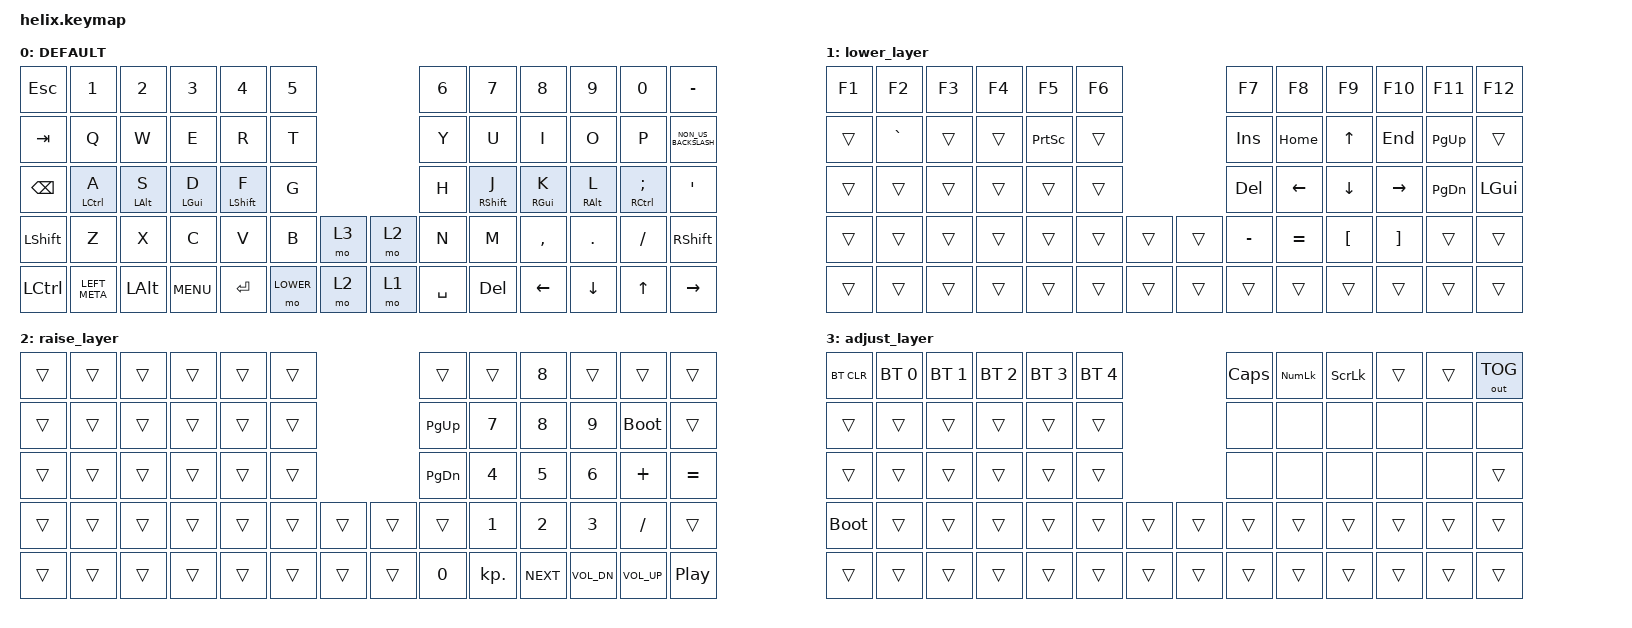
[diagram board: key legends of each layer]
/*
 * Copyright (c) 2020 The ZMK Contributors
 *
 * SPDX-License-Identifier: MIT
 */

#include <behaviors.dtsi>
#include <dt-bindings/zmk/bt.h>
#include <dt-bindings/zmk/keys.h>
#include <dt-bindings/zmk/outputs.h>

#define DEFAULT 0
#define LOWER  1
#define RAISE  2
#define ADJUST 3

/* NOTE: At the time of the creation of this keymap, there are no specified codes for 'eisuu' and 'kana' input in ZMK.
However, 'LANG1' and 'LANG2' are fully-functioning candidates for 'kana' and 'eisuu' input respectively.
As such, those are in use within the default layer at this time.*/

 &pro_micro_i2c {
     status = "okay";
 
     oled: ssd1306@3c {
         compatible = "solomon,ssd1306fb";
         reg = <0x3c>;
         width = <128>;
         height = <32>;
         segment-offset = <0>;
         page-offset = <0>;
         display-offset = <0>;
         multiplex-ratio = <31>;
         segment-remap;
         com-invdir;
         com-sequential;
         inversion-on;
         prechargep = <0x22>;
     };
 };


/ {

    behaviors {
        tpmt: tpmt {
            compatible = "zmk,behavior-hold-tap";
            label = "TPMT";
            bindings = <&kp>, <&kp>;

            #binding-cells = <2>;
            tapping-term-ms = <200>;
            quick-tap-ms = <125>;
            require-prior-idle-ms = <125>;
            flavor = "tap-preferred";
        };
    };

    keymap {
        compatible = "zmk,keymap";

        default_layer {
            // ---------------------------------------------------------------------------------------------------------------------------------
            // | GRAVE  |   1    |   2    |   3    |   4    |   5    |                                      |   6    |   7    |   8    |   9    |   0    |  DEL   |
            // |  TAB   |   Q    |   W    |   E    |   R    |   T    |                                      |   Y    |   U    |   I    |   O    |   P    |  BSPC  |
            // |  CTRL  |   A    |   S    |   D    |   F    |   G    |                                      |   H    |   J    |   K    |   L    |   ;    |   '    |
            // |  SHIFT |   Z    |   X    |   C    |   V    |   B    |  LBKT  |                    |  RBKT  |   N    |   M    |   ,    |   .    |   /    |  RET   |
            // | ADJUST |  ESC   |  ALT   |  LGUI  | EISUU  | LOWER  | SPACE  |                    |  SPACE | RAISE  |  KANA  |  LEFT  |  DOWN  |  UP    |  RIGHT |

            bindings = <
&kp ESC        &kp N1         &kp N2            &kp N3            &kp N4              &kp N5                     &kp N6     &kp N7               &kp N8        &kp N9             &kp N0                         &kp MINUS
&kp TAB        &kp Q          &kp W             &kp E             &kp R               &kp T                      &kp Y      &kp U                &kp I         &kp O              &kp P                          &kp NON_US_BACKSLASH
&kp BACKSPACE  &tpmt LCTRL A  &tpmt LEFT_ALT S  &tpmt LEFT_GUI D  &tpmt LEFT_SHIFT F  &kp G                      &kp H      &tpmt RIGHT_SHIFT J  &tpmt RGUI K  &tpmt RIGHT_ALT L  &tpmt RIGHT_CONTROL SEMICOLON  &kp SQT
&kp LSHFT      &kp Z          &kp X             &kp C             &kp V               &kp B      &mo 3    &mo 2  &kp N      &kp M                &kp COMMA     &kp PERIOD         &kp SLASH                      &kp RIGHT_SHIFT
&kp LCTRL      &kp LEFT_META  &kp LALT          &kp K_MENU        &kp ENTER           &mo LOWER  &mo 2    &mo 1  &kp SPACE  &kp DEL              &kp LEFT      &kp DOWN           &kp UP                         &kp RIGHT
            >;

            label = "DEFAULT";
        };

        lower_layer {
            // ---------------------------------------------------------------------------------------------------------------------------------
            // |      |      |      |      |      |      |                                  |      |      |      |      |      |      |
            // |  ~   |  !   |  @   |  #   |  $   |  %   |                                  |  ^   |  &   |  *   |  (   |  )   |      |
            // |      |      |      |      |      |      |                                  |      |  _   |  +   |  {   |  }   | PIPE |
            // |      |      |      |      |      |      |  (   |                    |  )   |      |      |      | HOME | END  |      |
            // |      |      |      |      |      |      |      |                    |      |      |      |      |      |      |      |

            bindings = <
&kp F1  &kp F2     &kp F3  &kp F4  &kp F5           &kp F6                    &kp F7      &kp F8          &kp F9            &kp F10            &kp F11        &kp F12
&trans  &kp GRAVE  &trans  &trans  &kp PRINTSCREEN  &trans                    &kp INS     &kp HOME        &kp UP_ARROW      &kp END            &kp PG_UP      &trans
&trans  &trans     &trans  &trans  &trans           &trans                    &kp DELETE  &kp LEFT_ARROW  &kp DOWN_ARROW    &kp RIGHT_ARROW    &kp PAGE_DOWN  &kp LEFT_GUI
&trans  &trans     &trans  &trans  &trans           &trans  &trans    &trans  &kp MINUS   &kp EQUAL       &kp LEFT_BRACKET  &kp RIGHT_BRACKET  &trans         &trans
&trans  &trans     &trans  &trans  &trans           &trans  &trans    &trans  &trans      &trans          &trans            &trans             &trans         &trans
            >;
        };

        raise_layer {
            // ---------------------------------------------------------------------------------------------------------------------------------
            // |       |       |       |       |       |       |                                    |       |       |       |       |       |       |
            // |   `   |   1   |   2   |   3   |   4   |   5   |                                    |   6   |   7   |   8   |   9   |   0   |  DEL  |
            // |       |  F1   |  F2   |  F3   |  F4   |  F5   |                                    |  F6   |   -   |   =   |   [   |   ]   |   \   |
            // |       |  F7   |  F8   |  F9   |  F10  |  F11  |       |                    |       |  F12  |       | PSCRN | PG_DN | PG_UP |       |
            // |       |       |       |       |       |       |       |                    |       |       |       | NEXT  | VOL-  | VOL+  | PLAY  |

            bindings = <
&trans  &trans  &trans  &trans  &trans  &trans                    &trans         &trans        &kp N8        &trans        &trans        &trans
&trans  &trans  &trans  &trans  &trans  &trans                    &kp PG_UP      &kp N7        &kp N8        &kp N9        &bootloader   &trans
&trans  &trans  &trans  &trans  &trans  &trans                    &kp PAGE_DOWN  &kp NUMBER_4  &kp N5        &kp NUMBER_6  &kp PLUS      &kp EQUAL
&trans  &trans  &trans  &trans  &trans  &trans  &trans    &trans  &trans         &kp NUMBER_1  &kp NUMBER_2  &kp NUMBER_3  &kp SLASH     &trans
&trans  &trans  &trans  &trans  &trans  &trans  &trans    &trans  &kp N0         &kp KP_DOT    &kp C_NEXT    &kp C_VOL_DN  &kp C_VOL_UP  &kp C_PP
            >;
        };

        adjust_layer {
            // ---------------------------------------------------------------------------------------------------------------------------------
            // |    `     |    !     |    @     |    #     |    $     |    %     |                                          |    ^     |    &     |    *     |    (     |    )     |  EP TOG  |
            // |  BT CLR  | BT SEL0  | BT SEL1  | BT SEL2  | BGT SEL3 | BT SEL4  |                                          | RGB EFF+ | RGB HUE+ | RGB SAT+ | RGB SPD+ | RGB BRI+ | RGB TOG  |
            // |  BT NXT  | OUT TOG  | OUT USB  | OUT BLE  |          |          |                                          | RGB EFF- | RGB HUE- | RGB SAT- | RGB SPD- | RGB BRI- |          |
            // |  BT PRV  |          |          |          |          |          |    {     |                    |    }     |          |          |          |          |          |          |
            // |          |          |          |          |          |          |          |                    |          |          |          |          |          |          |          |

            bindings = <
&bt BT_CLR   &bt BT_SEL 0  &bt BT_SEL 1  &bt BT_SEL 2  &bt BT_SEL 3  &bt BT_SEL 4                    &kp CAPSLOCK  &kp KP_NUMLOCK  &kp SCROLLLOCK  &trans  &trans  &out OUT_TOG
&trans       &trans        &trans        &trans        &trans        &trans                          &none         &none           &none           &none   &none   &none
&trans       &trans        &trans        &trans        &trans        &trans                          &none         &none           &none           &none   &none   &trans
&bootloader  &trans        &trans        &trans        &trans        &trans        &trans    &trans  &trans        &trans          &trans          &trans  &trans  &trans
&trans       &trans        &trans        &trans        &trans        &trans        &trans    &trans  &trans        &trans          &trans          &trans  &trans  &trans
            >;
        };
    };
};
